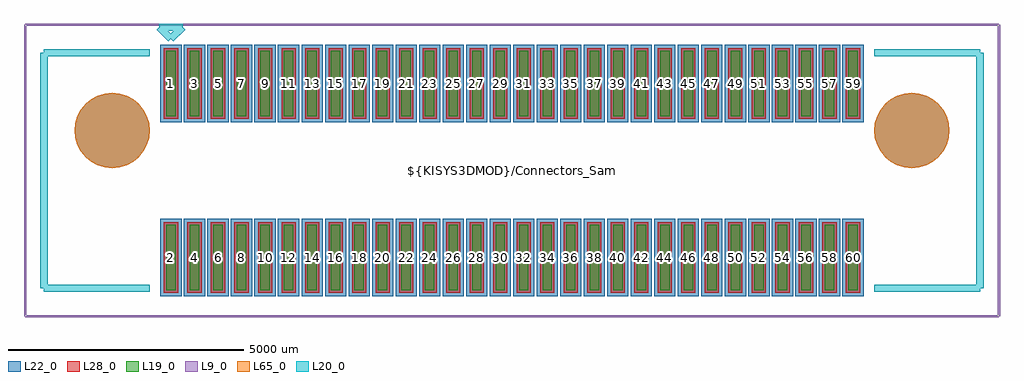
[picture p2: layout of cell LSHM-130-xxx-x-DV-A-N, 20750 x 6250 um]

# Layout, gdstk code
import gdstk
lib = gdstk.Library(unit=1e-6, precision=1e-09)
def R(c, l, rs):  # rectangles x0, y0, x1, y1
    for r in rs: c.add(gdstk.rectangle(r[:2], r[2:], *l))
def A(c, l, x, y, w, h, nx, ny, dx, dy):  # array of equal rectangles
    R(c, l, [(x+i*dx, y+j*dy, x+i*dx+w, y+j*dy+h) for i in range(nx) for j in range(ny)])
def P(c, l, *ps):  # polygons
    for p in ps: c.add(gdstk.Polygon(p, *l))
L9_0 = (9, 0)
L19_0 = (19, 0)
L20_0 = (20, 0)
L22_0 = (22, 0)
L28_0 = (28, 0)
L65_0 = (65, 0)

lshm_130_xxx_x_dv_a_n = lib.new_cell('LSHM-130-xxx-x-DV-A-N')
A(lshm_130_xxx_x_dv_a_n, L19_0, -7350, -2550, 200, 1400, 30, 2, 500, 3700)
A(lshm_130_xxx_x_dv_a_n, L22_0, -7475, -2675, 450, 1650, 30, 2, 500, 3700)
P(lshm_130_xxx_x_dv_a_n, L22_0, [(-7700,850),(-7715.372,1006.072),(-7760.896,1156.147),(-7834.824,1294.456),(-7934.315,1415.685),(-8055.544,1515.176),(-8193.853,1589.104),(-8343.928,1634.628),(-8500,1650),(-8656.072,1634.628),(-8806.147,1589.104),(-8944.456,1515.176),(-9065.685,1415.685),(-9165.176,1294.456),(-9239.104,1156.147),(-9284.628,1006.072),(-9300,850),(-9284.628,693.928),(-9239.104,543.853),(-9165.176,405.544),(-9065.685,284.315),(-8944.456,184.824),(-8806.147,110.896),(-8656.072,65.372),(-8500,50),(-8343.928,65.372),(-8193.853,110.896),(-8055.544,184.824),(-7934.315,284.315),(-7834.824,405.544),(-7760.896,543.853),(-7715.372,693.928)],
  [(9300,850),(9284.628,1006.072),(9239.104,1156.147),(9165.176,1294.456),(9065.685,1415.685),(8944.456,1515.176),(8806.147,1589.104),(8656.072,1634.628),(8500,1650),(8343.928,1634.628),(8193.853,1589.104),(8055.544,1515.176),(7934.315,1415.685),(7834.824,1294.456),(7760.896,1156.147),(7715.372,1006.072),(7700,850),(7715.372,693.928),(7760.896,543.853),(7834.824,405.544),(7934.315,284.315),(8055.544,184.824),(8193.853,110.896),(8343.928,65.372),(8500,50),(8656.072,65.372),(8806.147,110.896),(8944.456,184.824),(9065.685,284.315),(9165.176,405.544),(9239.104,543.853),(9284.628,693.928)])
A(lshm_130_xxx_x_dv_a_n, L28_0, -7400, -2600, 300, 1500, 30, 2, 500, 3700)
P(lshm_130_xxx_x_dv_a_n, L65_0, [(-7700,850),(-7715.372,1006.072),(-7760.896,1156.147),(-7834.824,1294.456),(-7934.315,1415.685),(-8055.544,1515.176),(-8193.853,1589.104),(-8343.928,1634.628),(-8500,1650),(-8656.072,1634.628),(-8806.147,1589.104),(-8944.456,1515.176),(-9065.685,1415.685),(-9165.176,1294.456),(-9239.104,1156.147),(-9284.628,1006.072),(-9300,850),(-9284.628,693.928),(-9239.104,543.853),(-9165.176,405.544),(-9065.685,284.315),(-8944.456,184.824),(-8806.147,110.896),(-8656.072,65.372),(-8500,50),(-8343.928,65.372),(-8193.853,110.896),(-8055.544,184.824),(-7934.315,284.315),(-7834.824,405.544),(-7760.896,543.853),(-7715.372,693.928)],
  [(9300,850),(9284.628,1006.072),(9239.104,1156.147),(9165.176,1294.456),(9065.685,1415.685),(8944.456,1515.176),(8806.147,1589.104),(8656.072,1634.628),(8500,1650),(8343.928,1634.628),(8193.853,1589.104),(8055.544,1515.176),(7934.315,1415.685),(7834.824,1294.456),(7760.896,1156.147),(7715.372,1006.072),(7700,850),(7715.372,693.928),(7760.896,543.853),(7834.824,405.544),(7934.315,284.315),(8055.544,184.824),(8193.853,110.896),(8343.928,65.372),(8500,50),(8656.072,65.372),(8806.147,110.896),(8944.456,184.824),(9065.685,284.315),(9165.176,405.544),(9239.104,543.853),(9284.628,693.928)])
lshm_130_xxx_x_dv_a_n.add(gdstk.FlexPath([(-7250,3100),(7250,3100)], 50, ends="flush", simple_path=True, layer=9, datatype=0))  # L9_0
lshm_130_xxx_x_dv_a_n.add(gdstk.FlexPath([(-7250,-3100),(7250,-3100)], 50, ends="flush", simple_path=True, layer=9, datatype=0))  # L9_0
lshm_130_xxx_x_dv_a_n.add(gdstk.FlexPath([(10350,-3100),(10350,3100)], 50, ends="flush", simple_path=True, layer=9, datatype=0))  # L9_0
lshm_130_xxx_x_dv_a_n.add(gdstk.FlexPath([(-10350,-3100),(-10350,3100)], 50, ends="flush", simple_path=True, layer=9, datatype=0))  # L9_0
lshm_130_xxx_x_dv_a_n.add(gdstk.FlexPath([(-10350,3100),(10350,3100)], 50, ends="flush", simple_path=True, layer=9, datatype=0))  # L9_0
lshm_130_xxx_x_dv_a_n.add(gdstk.FlexPath([(-10350,-3100),(10350,-3100)], 50, ends="flush", simple_path=True, layer=9, datatype=0))  # L9_0
lshm_130_xxx_x_dv_a_n.add(gdstk.FlexPath([(9950,2500),(7700,2500)], 149.998, ends="flush", simple_path=True, layer=20, datatype=0))  # L20_0
lshm_130_xxx_x_dv_a_n.add(gdstk.FlexPath([(-9950,2500),(-7700,2500)], 149.998, ends="flush", simple_path=True, layer=20, datatype=0))  # L20_0
lshm_130_xxx_x_dv_a_n.add(gdstk.FlexPath([(9950,-2500),(7700,-2500)], 149.998, ends="flush", simple_path=True, layer=20, datatype=0))  # L20_0
lshm_130_xxx_x_dv_a_n.add(gdstk.FlexPath([(-9950,-2500),(-7700,-2500)], 149.998, ends="flush", simple_path=True, layer=20, datatype=0))  # L20_0
lshm_130_xxx_x_dv_a_n.add(gdstk.FlexPath([(9950,2500),(9950,-2500)], 149.998, ends="flush", simple_path=True, layer=20, datatype=0))  # L20_0
lshm_130_xxx_x_dv_a_n.add(gdstk.FlexPath([(-9950,2500),(-9950,-2500)], 149.998, ends="flush", simple_path=True, layer=20, datatype=0))  # L20_0
lshm_130_xxx_x_dv_a_n.add(gdstk.FlexPath([(-7250,2800),(-7000,3050)], 149.998, ends="flush", simple_path=True, layer=20, datatype=0))  # L20_0
lshm_130_xxx_x_dv_a_n.add(gdstk.FlexPath([(-7000,3050),(-7500,3050)], 149.998, ends="flush", simple_path=True, layer=20, datatype=0))  # L20_0
lshm_130_xxx_x_dv_a_n.add(gdstk.FlexPath([(-7500,3050),(-7250,2800)], 149.998, ends="flush", simple_path=True, layer=20, datatype=0))  # L20_0
lshm_130_xxx_x_dv_a_n.add(gdstk.Label('${KISYS3DMOD}/Connectors_Samtec.3dshapes/LSHM-130-xxx-x-DV-A-N.wrl', (0,0), layer=12, texttype=0))
lshm_130_xxx_x_dv_a_n.add(gdstk.Label('2', (-7250,-1850), layer=28, texttype=0))
lshm_130_xxx_x_dv_a_n.add(gdstk.Label('1', (-7250,1850), layer=28, texttype=0))
lshm_130_xxx_x_dv_a_n.add(gdstk.Label('3', (-6750,1850), layer=28, texttype=0))
lshm_130_xxx_x_dv_a_n.add(gdstk.Label('4', (-6750,-1850), layer=28, texttype=0))
lshm_130_xxx_x_dv_a_n.add(gdstk.Label('8', (-5750,-1850), layer=28, texttype=0))
lshm_130_xxx_x_dv_a_n.add(gdstk.Label('7', (-5750,1850), layer=28, texttype=0))
lshm_130_xxx_x_dv_a_n.add(gdstk.Label('5', (-6250,1850), layer=28, texttype=0))
lshm_130_xxx_x_dv_a_n.add(gdstk.Label('6', (-6250,-1850), layer=28, texttype=0))
lshm_130_xxx_x_dv_a_n.add(gdstk.Label('14', (-4250,-1850), layer=28, texttype=0))
lshm_130_xxx_x_dv_a_n.add(gdstk.Label('13', (-4250,1850), layer=28, texttype=0))
lshm_130_xxx_x_dv_a_n.add(gdstk.Label('15', (-3750,1850), layer=28, texttype=0))
lshm_130_xxx_x_dv_a_n.add(gdstk.Label('16', (-3750,-1850), layer=28, texttype=0))
lshm_130_xxx_x_dv_a_n.add(gdstk.Label('12', (-4750,-1850), layer=28, texttype=0))
lshm_130_xxx_x_dv_a_n.add(gdstk.Label('11', (-4750,1850), layer=28, texttype=0))
lshm_130_xxx_x_dv_a_n.add(gdstk.Label('9', (-5250,1850), layer=28, texttype=0))
lshm_130_xxx_x_dv_a_n.add(gdstk.Label('10', (-5250,-1850), layer=28, texttype=0))
lshm_130_xxx_x_dv_a_n.add(gdstk.Label('26', (-1250,-1850), layer=28, texttype=0))
lshm_130_xxx_x_dv_a_n.add(gdstk.Label('25', (-1250,1850), layer=28, texttype=0))
lshm_130_xxx_x_dv_a_n.add(gdstk.Label('27', (-750,1850), layer=28, texttype=0))
lshm_130_xxx_x_dv_a_n.add(gdstk.Label('28', (-750,-1850), layer=28, texttype=0))
lshm_130_xxx_x_dv_a_n.add(gdstk.Label('32', (250,-1850), layer=28, texttype=0))
lshm_130_xxx_x_dv_a_n.add(gdstk.Label('31', (250,1850), layer=28, texttype=0))
lshm_130_xxx_x_dv_a_n.add(gdstk.Label('29', (-250,1850), layer=28, texttype=0))
lshm_130_xxx_x_dv_a_n.add(gdstk.Label('30', (-250,-1850), layer=28, texttype=0))
lshm_130_xxx_x_dv_a_n.add(gdstk.Label('22', (-2250,-1850), layer=28, texttype=0))
lshm_130_xxx_x_dv_a_n.add(gdstk.Label('21', (-2250,1850), layer=28, texttype=0))
lshm_130_xxx_x_dv_a_n.add(gdstk.Label('23', (-1750,1850), layer=28, texttype=0))
lshm_130_xxx_x_dv_a_n.add(gdstk.Label('24', (-1750,-1850), layer=28, texttype=0))
lshm_130_xxx_x_dv_a_n.add(gdstk.Label('20', (-2750,-1850), layer=28, texttype=0))
lshm_130_xxx_x_dv_a_n.add(gdstk.Label('19', (-2750,1850), layer=28, texttype=0))
lshm_130_xxx_x_dv_a_n.add(gdstk.Label('17', (-3250,1850), layer=28, texttype=0))
lshm_130_xxx_x_dv_a_n.add(gdstk.Label('18', (-3250,-1850), layer=28, texttype=0))
lshm_130_xxx_x_dv_a_n.add(gdstk.Label('38', (1750,-1850), layer=28, texttype=0))
lshm_130_xxx_x_dv_a_n.add(gdstk.Label('37', (1750,1850), layer=28, texttype=0))
lshm_130_xxx_x_dv_a_n.add(gdstk.Label('39', (2250,1850), layer=28, texttype=0))
lshm_130_xxx_x_dv_a_n.add(gdstk.Label('40', (2250,-1850), layer=28, texttype=0))
lshm_130_xxx_x_dv_a_n.add(gdstk.Label('36', (1250,-1850), layer=28, texttype=0))
lshm_130_xxx_x_dv_a_n.add(gdstk.Label('35', (1250,1850), layer=28, texttype=0))
lshm_130_xxx_x_dv_a_n.add(gdstk.Label('33', (750,1850), layer=28, texttype=0))
lshm_130_xxx_x_dv_a_n.add(gdstk.Label('34', (750,-1850), layer=28, texttype=0))
lshm_130_xxx_x_dv_a_n.add(gdstk.Label('54', (5750,-1850), layer=28, texttype=0))
lshm_130_xxx_x_dv_a_n.add(gdstk.Label('53', (5750,1850), layer=28, texttype=0))
lshm_130_xxx_x_dv_a_n.add(gdstk.Label('55', (6250,1850), layer=28, texttype=0))
lshm_130_xxx_x_dv_a_n.add(gdstk.Label('56', (6250,-1850), layer=28, texttype=0))
lshm_130_xxx_x_dv_a_n.add(gdstk.Label('60', (7250,-1850), layer=28, texttype=0))
lshm_130_xxx_x_dv_a_n.add(gdstk.Label('59', (7250,1850), layer=28, texttype=0))
lshm_130_xxx_x_dv_a_n.add(gdstk.Label('57', (6750,1850), layer=28, texttype=0))
lshm_130_xxx_x_dv_a_n.add(gdstk.Label('58', (6750,-1850), layer=28, texttype=0))
lshm_130_xxx_x_dv_a_n.add(gdstk.Label('44', (3250,-1850), layer=28, texttype=0))
lshm_130_xxx_x_dv_a_n.add(gdstk.Label('43', (3250,1850), layer=28, texttype=0))
lshm_130_xxx_x_dv_a_n.add(gdstk.Label('41', (2750,1850), layer=28, texttype=0))
lshm_130_xxx_x_dv_a_n.add(gdstk.Label('42', (2750,-1850), layer=28, texttype=0))
lshm_130_xxx_x_dv_a_n.add(gdstk.Label('50', (4750,-1850), layer=28, texttype=0))
lshm_130_xxx_x_dv_a_n.add(gdstk.Label('49', (4750,1850), layer=28, texttype=0))
lshm_130_xxx_x_dv_a_n.add(gdstk.Label('51', (5250,1850), layer=28, texttype=0))
lshm_130_xxx_x_dv_a_n.add(gdstk.Label('52', (5250,-1850), layer=28, texttype=0))
lshm_130_xxx_x_dv_a_n.add(gdstk.Label('48', (4250,-1850), layer=28, texttype=0))
lshm_130_xxx_x_dv_a_n.add(gdstk.Label('47', (4250,1850), layer=28, texttype=0))
lshm_130_xxx_x_dv_a_n.add(gdstk.Label('45', (3750,1850), layer=28, texttype=0))
lshm_130_xxx_x_dv_a_n.add(gdstk.Label('46', (3750,-1850), layer=28, texttype=0))
lshm_130_xxx_x_dv_a_n.add(gdstk.Label('type', (0,-4000), layer=9, texttype=0))
lshm_130_xxx_x_dv_a_n.add(gdstk.Label('devicename', (-8400,3650), layer=9, texttype=0))

lib.write_gds('LSHM-130-xxx-x-DV-A-N.gds')
